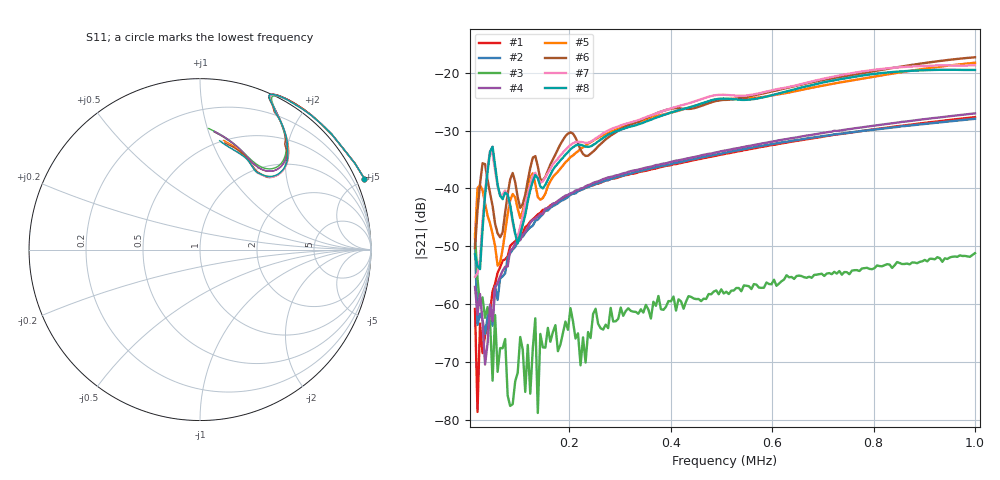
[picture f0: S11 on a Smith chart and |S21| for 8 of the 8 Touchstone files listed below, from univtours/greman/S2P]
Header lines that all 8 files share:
!Agilent Technologies,E5071C,MY46109397,A.09.54
!Data & Calibration Information:
!Freq	S11:SOLT1(ON)	S21:RESPT(ON)	S12:NONE(--)	S22:NONE(--)
# Hz S RI R 50
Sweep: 13.96 kHz to 1 MHz
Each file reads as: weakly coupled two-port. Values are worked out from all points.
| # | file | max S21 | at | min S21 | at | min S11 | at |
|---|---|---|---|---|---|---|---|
| 1 | ZT CHAFF HORS TENSION.S2P | -27.69 dB | 1 MHz | -78.6 dB | 18.91 kHz | -4.6 dB | 474.8 kHz |
| 2 | ZT LAMP HORS TENSION.S2P | -27.98 dB | 1 MHz | -65.1 dB | 33.77 kHz | -4.6 dB | 474.8 kHz |
| 3 | ZT RESEAU VIDE.S2P | -47.93 dB | 13.96 kHz | -78.8 dB | 137.8 kHz | -4.5 dB | 464.9 kHz |
| 4 | ZT VENTIOLATEUR V 0.S2P | -27.04 dB | 1 MHz | -70.4 dB | 33.77 kHz | -4.6 dB | 474.8 kHz |
| 5 | ZT VENTIOLATEUR V 1.S2P | -18.30 dB | 1 MHz | -53.3 dB | 58.55 kHz | -5.0 dB | 504.5 kHz |
| 6 | ZT VENTIOLATEUR V 2.S2P | -17.35 dB | 1 MHz | -50.3 dB | 13.96 kHz | -5.0 dB | 499.5 kHz |
| 7 | ZT VENTIOLATEUR V 3 SOUS TENSION.S2P | -18.74 dB | 1 MHz | -55.3 dB | 13.96 kHz | -5.0 dB | 504.5 kHz |
| 8 | ZT VENTIOLATEUR V 3.S2P | -19.50 dB | 950.5 kHz | -53.9 dB | 23.86 kHz | -5.0 dB | 504.5 kHz |
